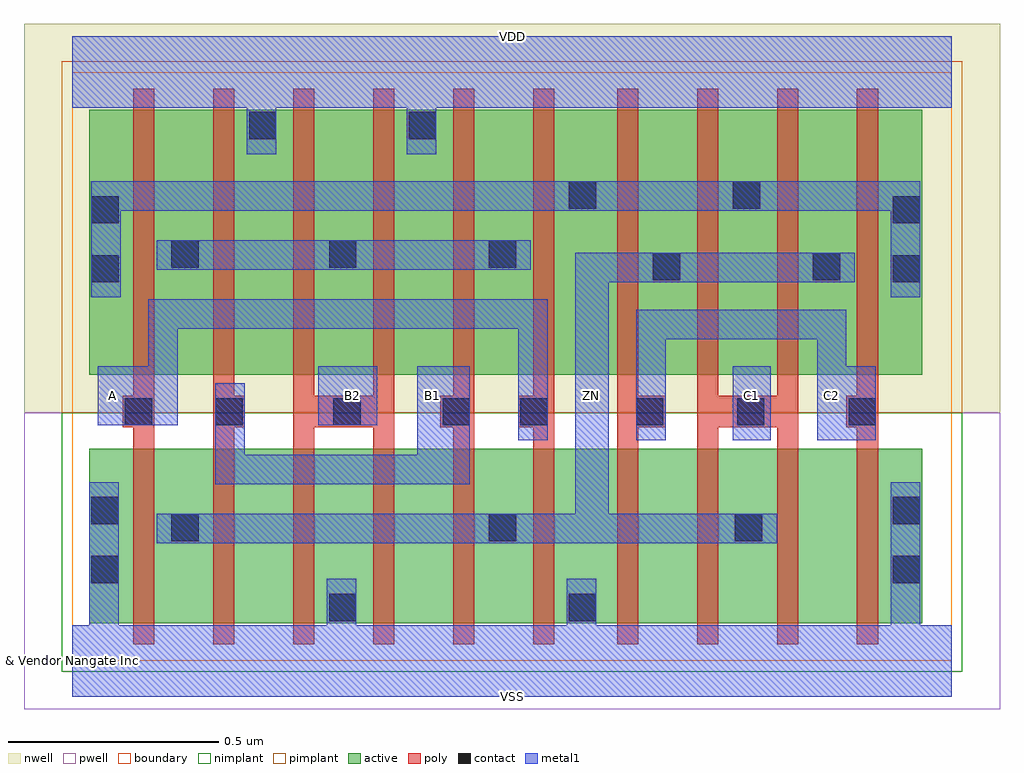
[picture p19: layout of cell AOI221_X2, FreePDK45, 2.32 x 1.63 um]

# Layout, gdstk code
import gdstk
lib = gdstk.Library(unit=1e-6, precision=1e-10)
def R(c, l, rs):  # rectangles x0, y0, x1, y1
    for r in rs: c.add(gdstk.rectangle(r[:2], r[2:], *l))
def P(c, l, *ps):  # polygons
    for p in ps: c.add(gdstk.Polygon(p, *l))
active = (1, 0)
pwell = (2, 0)
nwell = (3, 0)
nimplant = (4, 0)
pimplant = (5, 0)
poly = (9, 0)
contact = (10, 0)
metal1 = (11, 0)
boundary = (235, 0)

aoi221_x2 = lib.new_cell('AOI221_X2')
R(aoi221_x2, active, [(0.04,0.09,2.02,0.505), (0.04,0.68,2.02,1.31)])
R(aoi221_x2, pwell, [(-0.115,-0.115,2.205,0.59)])
R(aoi221_x2, nwell, [(-0.115,0.59,2.205,1.515)])
R(aoi221_x2, nimplant, [(-0.025,-0.025,2.115,0.59)])
R(aoi221_x2, pimplant, [(-0.025,0.59,2.115,1.425)])
P(aoi221_x2, poly, [(0.145,0.04),(0.145,0.555),(0.12,0.555),(0.12,0.63),(0.145,0.63),(0.145,1.36),(0.195,1.36),(0.195,0.04)],
  [(0.335,0.04),(0.335,1.36),(0.385,1.36),(0.385,0.63),(0.41,0.63),(0.41,0.555),(0.385,0.555),(0.385,0.04)],
  [(0.525,0.04),(0.525,1.36),(0.575,1.36),(0.575,0.63),(0.715,0.63),(0.715,1.36),(0.765,1.36),(0.765,0.04),(0.715,0.04),(0.715,0.555),(0.575,0.555),(0.575,0.04)],
  [(0.905,0.04),(0.905,0.555),(0.875,0.555),(0.875,0.63),(0.905,0.63),(0.905,1.36),(0.955,1.36),(0.955,0.04)],
  [(1.095,0.04),(1.095,0.555),(1.06,0.555),(1.06,0.63),(1.095,0.63),(1.095,1.36),(1.145,1.36),(1.145,0.04)],
  [(1.295,0.04),(1.295,1.36),(1.345,1.36),(1.345,0.63),(1.41,0.63),(1.41,0.555),(1.345,0.555),(1.345,0.04)],
  [(1.485,0.04),(1.485,1.36),(1.535,1.36),(1.535,0.63),(1.675,0.63),(1.675,1.36),(1.725,1.36),(1.725,0.04),(1.675,0.04),(1.675,0.555),(1.535,0.555),(1.535,0.04)],
  [(1.865,0.04),(1.865,0.555),(1.84,0.555),(1.84,0.63),(1.865,0.63),(1.865,1.36),(1.915,1.36),(1.915,0.04)])
R(aoi221_x2, contact, [(0.61,0.095,0.675,0.16), (1.18,0.095,1.245,0.16), (0.045,0.185,0.11,0.25), (1.95,0.185,2.015,0.25), (0.235,0.285,0.3,0.35), (0.99,0.285,1.055,0.35), (1.575,0.285,1.64,0.35), (0.045,0.325,0.11,0.39), (1.95,0.325,2.015,0.39), (0.125,0.56,0.19,0.625), (0.34,0.56,0.405,0.625), (0.62,0.56,0.685,0.625), (0.88,0.56,0.945,0.625), (1.065,0.56,1.13,0.625), (1.34,0.56,1.405,0.625), (1.58,0.56,1.645,0.625), (1.845,0.56,1.91,0.625), (0.045,0.9,0.11,0.965), (1.95,0.9,2.015,0.965), (1.38,0.905,1.445,0.97), (1.76,0.905,1.825,0.97), (0.235,0.935,0.3,1), (0.61,0.935,0.675,1), (0.99,0.935,1.055,1), (0.045,1.04,0.11,1.105), (1.95,1.04,2.015,1.105), (1.18,1.075,1.245,1.14), (1.57,1.075,1.635,1.14), (0.42,1.24,0.485,1.305), (0.8,1.24,0.865,1.305)])
R(aoi221_x2, metal1, [(1.57,0.525,1.66,0.7), (0.585,0.56,0.725,0.7), (0.2,0.93,1.09,1)])
P(aoi221_x2, metal1, [(0.34,0.42),(0.34,0.66),(0.41,0.66),(0.41,0.49),(0.82,0.49),(0.82,0.7),(0.945,0.7),(0.945,0.42)],
  [(1.06,0.525),(1.06,0.79),(0.25,0.79),(0.25,0.56),(0.06,0.56),(0.06,0.7),(0.18,0.7),(0.18,0.86),(1.13,0.86),(1.13,0.525)],
  [(0.2,0.28),(0.2,0.35),(1.195,0.35),(1.195,0.97),(1.86,0.97),(1.86,0.9),(1.275,0.9),(1.275,0.35),(1.675,0.35),(1.675,0.28)],
  [(1.34,0.525),(1.34,0.835),(1.84,0.835),(1.84,0.7),(1.91,0.7),(1.91,0.525),(1.77,0.525),(1.77,0.765),(1.41,0.765),(1.41,0.525)],
  [(0.045,0.865),(0.045,1.14),(2.015,1.14),(2.015,0.865),(1.945,0.865),(1.945,1.07),(0.115,1.07),(0.115,0.865)],
  [(0,-0.085),(0,0.085),(0.04,0.085),(0.04,0.425),(0.11,0.425),(0.11,0.085),(0.605,0.085),(0.605,0.195),(0.675,0.195),(0.675,0.085),(1.175,0.085),(1.175,0.195),(1.245,0.195),(1.245,0.085),(1.945,0.085),(1.945,0.425),(2.015,0.425),(2.015,0.085),(2.09,0.085),(2.09,-0.085)],
  [(0.415,1.205),(0.415,1.315),(0,1.315),(0,1.485),(2.09,1.485),(2.09,1.315),(0.865,1.315),(0.865,1.205),(0.795,1.205),(0.795,1.315),(0.485,1.315),(0.485,1.205)])
R(aoi221_x2, boundary, [(0,0,2.09,1.4)])
aoi221_x2.add(gdstk.Label('A', (0.095,0.63), layer=11, texttype=0))
aoi221_x2.add(gdstk.Label('B1', (0.855,0.63), layer=11, texttype=0))
aoi221_x2.add(gdstk.Label('B2', (0.665,0.63), layer=11, texttype=0))
aoi221_x2.add(gdstk.Label('C1', (1.615,0.63), layer=11, texttype=0))
aoi221_x2.add(gdstk.Label('C2', (1.805,0.63), layer=11, texttype=0))
aoi221_x2.add(gdstk.Label('VDD', (1.045,1.485), layer=11, texttype=0))
aoi221_x2.add(gdstk.Label('VSS', (1.045,-0.085), layer=11, texttype=0))
aoi221_x2.add(gdstk.Label('ZN', (1.235,0.63), layer=11, texttype=0))
aoi221_x2.add(gdstk.Label('& Vendor Nangate Inc', (0,0), layer=63, texttype=63))
aoi221_x2.add(gdstk.Label('& Product Open Cell Library', (0,0), layer=63, texttype=63))
aoi221_x2.add(gdstk.Label('& Version 2010_12', (0,0), layer=63, texttype=63))
aoi221_x2.add(gdstk.Label('& Instance AOI221_X2', (0,0), layer=63, texttype=63))

lib.write_gds('AOI221_X2.gds')
